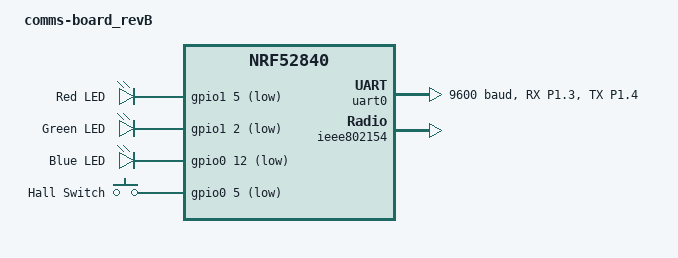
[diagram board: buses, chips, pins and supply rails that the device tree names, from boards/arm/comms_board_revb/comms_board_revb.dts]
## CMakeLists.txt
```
#
# Copyright (c) 2021 Nordic Semiconductor ASA
#
# SPDX-License-Identifier: LicenseRef-Nordic-5-Clause
#

cmake_minimum_required(VERSION 3.20.0)

find_package(Zephyr REQUIRED HINTS $ENV{ZEPHYR_BASE})

project("test")

# NORDIC SDK APP START
target_sources(app PRIVATE
  src/main.c
  src/gpio.c
  src/zb_zcl_modbus.c
)

target_include_directories(app PRIVATE include comms)
# NORDIC SDK APP END
```

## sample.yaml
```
sample:
  description: test
  name: test
tests:
  sample.zigbee.template:
    build_only: true
    integration_platforms:
      - nrf52840dk_nrf52840
      - nrf52833dk_nrf52833
      - nrf5340dk_nrf5340_cpuapp
      - nrf21540dk_nrf52840
    platform_allow:
      nrf52840dk_nrf52840 nrf52833dk_nrf52833 nrf5340dk_nrf5340_cpuapp
      nrf21540dk_nrf52840
    tags: ci_build smoke
```

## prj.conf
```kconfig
#
# Copyright (c) 2021 Nordic Semiconductor ASA
#
# SPDX-License-Identifier: LicenseRef-Nordic-5-Clause
#

CONFIG_NCS_SAMPLES_DEFAULTS=y

CONFIG_UART_INTERRUPT_DRIVEN=y
CONFIG_SERIAL=y
CONFIG_GPIO=y
CONFIG_PINCTRL=y


# Make sure printk is not printing to the UART console
CONFIG_CONSOLE=y
CONFIG_UART_CONSOLE=n
CONFIG_USE_SEGGER_RTT=y
CONFIG_RTT_CONSOLE=y

CONFIG_HEAP_MEM_POOL_SIZE=2048
CONFIG_MAIN_THREAD_PRIORITY=7

CONFIG_ZIGBEE=y
CONFIG_ZIGBEE_APP_UTILS=y
CONFIG_ZIGBEE_ROLE_ROUTER=y
CONFIG_ZIGBEE_USE_SOFTWARE_AES=y

# Enable DK LED and Buttons library
CONFIG_DK_LIBRARY=y

# This example requires more workqueue stack
CONFIG_SYSTEM_WORKQUEUE_STACK_SIZE=2048

# Enable nRF ECB driver
CONFIG_CRYPTO=y
CONFIG_CRYPTO_NRF_ECB=y
CONFIG_CRYPTO_INIT_PRIORITY=80

# Networking
CONFIG_NET_IPV6=n
CONFIG_NET_IP_ADDR_CHECK=n
#######################
# Zigbee FOTA overlay #
#######################

# Enable Zigbee FOTA library
CONFIG_ZIGBEE_FOTA=y
CONFIG_ZIGBEE_FOTA_HW_VERSION=1
CONFIG_ZIGBEE_FOTA_ENDPOINT=21
CONFIG_MCUBOOT_IMGTOOL_SIGN_VERSION="0.0.2"
CONFIG_ZIGBEE_FOTA_COMMENT="test"
CONFIG_ZIGBEE_FOTA_MANUFACTURER_ID=0xFFFE
CONFIG_ZIGBEE_FOTA_IMAGE_TYPE=0xFFFE

# Ensure an MCUboot-compatible binary is generated.
CONFIG_IMG_MANAGER=y
CONFIG_STREAM_FLASH=y
CONFIG_DFU_TARGET_MCUBOOT=y
CONFIG_IMG_ERASE_PROGRESSIVELY=y
CONFIG_ZIGBEE_FOTA_PROGRESS_EVT=y


CONFIG_SENSOR=y
CONFIG_NRF_CC3XX_PLATFORM=y
CONFIG_NRF_RTC_TIMER_USER_CHAN_COUNT=3
CONFIG_DYNAMIC_INTERRUPTS=y
CONFIG_ZIGBEE_APP_UTILS_LOG_LEVEL_DBG=y
CONFIG_MODBUS=y
CONFIG_MINIMAL_LIBC=y
CONFIG_COMMON_LIBC_MALLOC_ARENA_SIZE=2048

CONFIG_DEBUG_THREAD_INFO=y
CONFIG_DEBUG_OPTIMIZATIONS=y

# Increase the number of RX buffers
CONFIG_NRF_802154_RX_BUFFERS=32

CONFIG_ZIGBEE_CHANNEL_SELECTION_MODE_MULTI=y
CONFIG_ZIGBEE_FOTA_SERVER_DISOVERY_INTERVAL_HRS=1
CONFIG_ZIGBEE_FOTA_IMAGE_QUERY_INTERVAL_MIN=5
CONFIG_ZIGBEE_LOGGER_EP=y
CONFIG_ZBOSS_TRACE_LOG_LEVEL_DBG=y
CONFIG_ZBOSS_OSIF_LOG_LEVEL_DBG=y
CONFIG_ZIGBEE_LOGGER_EP_LOG_LEVEL_DBG=y
CONFIG_ZBOSS_TRACE_MASK=0x00000C48
CONFIG_THREAD_ANALYZER=y
CONFIG_THREAD_ANALYZER_AUTO=y
CONFIG_THREAD_ANALYZER_AUTO_INTERVAL=10
```

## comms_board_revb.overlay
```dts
// To get started, press Ctrl+Space to bring up the completion menu and view the available nodes.

// You can also use the buttons in the sidebar to perform actions on nodes.
// Actions currently available include:

// * Enabling / disabling the node
// * Adding the bus to a bus
// * Removing the node
// * Connecting ADC channels

// For more help, browse the DeviceTree documentation at https://docs.zephyrproject.org/latest/guides/dts/index.html
// You can also visit the nRF DeviceTree extension documentation at https://nrfconnect.github.io/vscode-nrf-connect/devicetree/nrfdevicetree.html

&uart0 {
	status = "okay";
    
    modbus0 {
        compatible = "zephyr,modbus-serial";
		status = "okay";
    };
};
```

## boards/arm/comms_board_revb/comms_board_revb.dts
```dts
// Copyright (c) 2023 Nordic Semiconductor ASA
// SPDX-License-Identifier: Apache-2.0

/dts-v1/;
#include <nordic/nrf52840_qiaa.dtsi>

/ {
	model = "comms-board_revB";
	compatible = "test,comms-board-revb";

	chosen {
		zephyr,ieee802154 = &ieee802154;
		zephyr,sram = &sram0;
		zephyr,flash = &flash0;
		zephyr,code-partition = &slot0_partition;
	};

	leds {
		compatible = "gpio-leds";
		led_red: led_red {
			gpios = <&gpio1 5 GPIO_ACTIVE_LOW>;
			label = "Red LED";
		};
		led_green: led_green {
			gpios = <&gpio1 2 GPIO_ACTIVE_LOW>;
			label = "Green LED";
		};
		led_blue: led_blue {
			gpios = <&gpio0 12 GPIO_ACTIVE_LOW>;
			label = "Blue LED";
		};
	};

	buttons {
		compatible = "gpio-keys";
		hall_sw: hall_sw {
			gpios = <&gpio0 5 (GPIO_ACTIVE_LOW)>;
			label = "Hall Switch";
		};
	};

	aliases {
		led-red = &led_red;
		led-green = &led_green;
		led-blue = &led_blue;
		hall-sw = &hall_sw;
	};
};

&flash0 {
	partitions {
		compatible = "fixed-partitions";
		#address-cells = <1>;
		#size-cells = <1>;

		boot_partition: partition@0 {
			label = "mcuboot";
			reg = <0x0 0xc000>;
		};
		slot0_partition: partition@c000 {
			label = "image-0";
			reg = <0xc000 0x72000>;
		};
		slot1_partition: partition@7e000 {
			label = "image-1";
			reg = <0x7e000 0x72000>;
		};
		scratch_partition: partition@f0000 {
			label = "image-scratch";
			reg = <0xf0000 0xa000>;
		};
		storage_partition: partition@fa000 {
			label = "storage";
			reg = <0xfa000 0x6000>;
		};
	};
};

&gpio0 {
	status = "okay";
};

&gpio1 {
	status = "okay";
};

&pinctrl {
	status = "okay";

	uart0_default: uart0_default {
		group1 {
			psels = <NRF_PSEL(UART_RX, 1, 3)>;
			bias-pull-up;
		};

		group2 {
			psels = <NRF_PSEL(UART_TX, 1, 4)>;
		};
	};

	uart0_sleep: uart0_sleep {
		group1 {
			psels = <NRF_PSEL(UART_TX, 1, 4)>,
				<NRF_PSEL(UART_RX,  1, 3)>;
			low-power-enable;
		};
	};
};

&uart0 {
	compatible = "nordic,nrf-uarte";
	status = "okay";
	current-speed = <9600>;
	pinctrl-0 = <&uart0_default>;
	pinctrl-1 = <&uart0_sleep>;
	pinctrl-names = "default", "sleep";
};

&ieee802154 {
	status = "okay";
};
```

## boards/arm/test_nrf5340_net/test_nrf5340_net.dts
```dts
// Copyright (c) 2023 Nordic Semiconductor ASA
// SPDX-License-Identifier: Apache-2.0

/dts-v1/;
#include <nordic/nrf5340_cpunet_qkaa.dtsi>

/ {
	model = "test_NRF5340_net";
	compatible = "elecgator-bv,test-nrf5340-net";

	chosen {
		zephyr,sram = &sram0;
		zephyr,flash = &flash0;
		zephyr,code-partition = &slot0_partition;
	};
};

&flash0 {
	partitions {
		compatible = "fixed-partitions";
		#address-cells = <1>;
		#size-cells = <1>;

		boot_partition: partition@0 {
			label = "mcuboot";
			reg = <0x0 0x10000>;
		};
		slot0_partition: partition@10000 {
			label = "image-0";
			reg = <0x10000 0x40000>;
		};
		slot0_ns_partition: partition@50000 {
			label = "image-0-nonsecure";
			reg = <0x50000 0x-30000>;
		};
		slot1_partition: partition@20000 {
			label = "image-1";
			reg = <0x20000 0x40000>;
		};
		slot1_ns_partition: partition@60000 {
			label = "image-1-nonsecure";
			reg = <0x60000 0x-30000>;
		};
		scratch_partition: partition@30000 {
			label = "image-scratch";
			reg = <0x30000 0xa000>;
		};
		storage_partition: partition@3a000 {
			label = "storage";
			reg = <0x3a000 0x6000>;
		};
	};
};
```

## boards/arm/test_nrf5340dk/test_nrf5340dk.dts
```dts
// Copyright (c) 2023 Nordic Semiconductor ASA
// SPDX-License-Identifier: Apache-2.0

/dts-v1/;
#include <nordic/nrf5340_cpuapp_qkaa.dtsi>

/ {
	model = "test-NRF5340DK";
	compatible = "elecgator-bv,test-nrf5340dk";

	chosen {
		zephyr,ieee802154 = &ieee802154;
		zephyr,sram = &sram0;
		zephyr,flash = &flash0;
		zephyr,code-partition = &slot0_partition;
	};

	leds {
		compatible = "gpio-leds";
		led_red: led_red {
			gpios = <&gpio1 5 GPIO_ACTIVE_LOW>;
			label = "Red LED";
		};
		led_green: led_green {
			gpios = <&gpio1 2 GPIO_ACTIVE_LOW>;
			label = "Green LED";
		};
		led_blue: led_blue {
			gpios = <&gpio0 12 GPIO_ACTIVE_LOW>;
			label = "Blue LED";
		};
	};

	buttons {
		compatible = "gpio-keys";
		hall_sw: hall_sw {
			gpios = <&gpio0 5 (GPIO_ACTIVE_LOW)>;
			label = "Hall Switch";
		};
	};

	aliases {
		led-red = &led_red;
		led-green = &led_green;
		led-blue = &led_blue;
		hall-sw = &hall_sw;
	};

	reserved-memory {
        #address-cells = <1>;
        #size-cells = <1>;
        ranges;


        //sram0_ns: image_ns@20000000 {
            /* Non-Secure image memory */
        //};
        sram0_shared: memory@20070000 {
            /* SRAM allocated to shared memory */
            reg = <0x20070000 0x10000>;
        };
    };
};



&flash0 {
	partitions {
		compatible = "fixed-partitions";
		#address-cells = <1>;
		#size-cells = <1>;

		boot_partition: partition@0 {
			label = "mcuboot";
			reg = <0x0 0x10000>;
		};
		slot0_partition: partition@10000 {
			label = "image-0";
			reg = <0x10000 0x40000>;
		};
		slot0_ns_partition: partition@50000 {
			label = "image-0-nonsecure";
			reg = <0x50000 0x30000>;
		};
		slot1_partition: partition@80000 {
			label = "image-1";
			reg = <0x80000 0x40000>;
		};
		slot1_ns_partition: partition@c0000 {
			label = "image-1-nonsecure";
			reg = <0xc0000 0x30000>;
		};
		scratch_partition: partition@f0000 {
			label = "image-scratch";
			reg = <0xf0000 0xa000>;
		};
		storage_partition: partition@fa000 {
			label = "storage";
			reg = <0xfa000 0x6000>;
		};
	};
};

&gpio0 {
	status = "okay";
};

&gpio1 {
	status = "okay";
};

&pinctrl {
	status = "okay";

	uart0_default: uart0_default {
		group1 {
			psels = <NRF_PSEL(UART_RX, 1, 3)>;
		};

		group2 {
			psels = <NRF_PSEL(UART_TX, 1, 4)>;
			bias-pull-up;
		};
	};

	uart0_sleep: uart0_sleep {
		group1 {
			psels = <NRF_PSEL(UART_TX, 1, 4)>,
				<NRF_PSEL(UART_RX,  1, 3)>;
			low-power-enable;
		};
	};
};

&uart0 {
	compatible = "nordic,nrf-uarte";
	status = "okay";
	current-speed = <115200>;
	pinctrl-0 = <&uart0_default>;
	pinctrl-1 = <&uart0_sleep>;
	pinctrl-names = "default", "sleep";
};

&ieee802154 {
	status = "okay";
};
```

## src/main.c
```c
/*
 * Copyright (c) 2021 Nordic Semiconductor ASA
 *
 * SPDX-License-Identifier: LicenseRef-Nordic-5-Clause
 */

/** @file
 *
 * @brief Zigbee application template.
 */

#include <zephyr/kernel.h>
#include <zephyr/logging/log.h>

#include "zb_range_extender.h"
#include <ram_pwrdn.h>
#include <zb_nrf_platform.h>
#include <zboss_api.h>
#include <zboss_api_addons.h>
#include <zigbee/zigbee_error_handler.h>

#include <zigbee/zigbee_app_utils.h>

#include "zb_zcl_modbus.h"

#include <stdio.h>
#include <stdlib.h>

#include "gpio.h"

#define ZIGBEE_MANUFACTURER_CODE ZB_ZCL_MANUF_CODE_INVALID

#if CONFIG_ZIGBEE_FOTA
#include <zephyr/dfu/mcuboot.h>
#include <zephyr/sys/reboot.h>
#include <zigbee/zigbee_fota.h>

/* LED indicating OTA Client Activity. */
#define OTA_ACTIVITY_LED LED_RED
#endif /* CONFIG_ZIGBEE_FOTA */

/* Device endpoint, used to receive ZCL commands. */
#define TEST_EP_ENDPOINT 0x01

/* LED indicating that device successfully joined Zigbee network. */
#define ZIGBEE_NETWORK_STATE_LED LED_BLUE

/* LED used for device identification. */
#define IDENTIFY_LED LED_GREEN

/* Button used to enter the Identify mode. */
#define IDENTIFY_MODE_BUTTON HALL_IN_MSK

/* Button to start Factory Reset */
#define FACTORY_RESET_BUTTON IDENTIFY_MODE_BUTTON

LOG_MODULE_REGISTER(app, LOG_LEVEL_INF);

static bool network_led_state = false;

/* Main application customizable context.
 * Stores all settings and static values.
 */
typedef struct {
    zb_zcl_basic_attrs_ext_t basic_attr;
    zb_zcl_identify_attrs_t  identify_attr;
    zb_zcl_modbus_attrs_t    modbus_attr;
} zb_device_ctx_t;

/* Zigbee device application context storage. */
static zb_device_ctx_t dev_ctx;

ZB_ZCL_DECLARE_IDENTIFY_ATTRIB_LIST(identify_attr_list, &dev_ctx.identify_attr.identify_time);

ZB_ZCL_DECLARE_BASIC_ATTRIB_LIST_EXT(basic_attr_list, &dev_ctx.basic_attr.zcl_version, &dev_ctx.basic_attr.app_version, &dev_ctx.basic_attr.stack_version, &dev_ctx.basic_attr.hw_version, &dev_ctx.basic_attr.mf_name, &dev_ctx.basic_attr.model_id,
                                     &dev_ctx.basic_attr.date_code, &dev_ctx.basic_attr.power_source, &dev_ctx.basic_attr.location_id, &dev_ctx.basic_attr.ph_env, &dev_ctx.basic_attr.sw_ver);

ZB_DECLARE_RANGE_EXTENDER_CLUSTER_LIST(range_extender_clusters, basic_attr_list, identify_attr_list);

ZB_DECLARE_RANGE_EXTENDER_EP(test_ep, TEST_EP_ENDPOINT, range_extender_clusters);

#define MODBUS_CLUSTER_ENDPOINT 0x02

// add Modbus cluster
ZB_ZCL_DECLARE_MODBUS_ATTRIB_LIST(modbus_attr_list, &dev_ctx.modbus_attr.baudrate);
zb_zcl_cluster_desc_t clusters_test[] = {
    ZB_ZCL_CLUSTER_DESC(ZB_ZCL_CLUSTER_ID_MODBUS, ZB_ZCL_ARRAY_SIZE(modbus_attr_list, zb_zcl_attr_t), (modbus_attr_list), ZB_ZCL_CLUSTER_SERVER_ROLE, ZB_ZCL_MANUF_CODE_INVALID),
};

ZB_AF_SIMPLE_DESC_TYPE(1, 1)
simple_desc_test = {MODBUS_CLUSTER_ENDPOINT,
                    ZB_AF_HA_PROFILE_ID,
                    0xF003, // TODO change
                    1,      // TODO change
                    0,
                    0,
                    1,
                    {
                        ZB_ZCL_CLUSTER_ID_MODBUS,
                    }};
ZBOSS_DEVICE_DECLARE_REPORTING_CTX(reporting_info_test, 0);
ZB_AF_DECLARE_ENDPOINT_DESC(device_ep, MODBUS_CLUSTER_ENDPOINT, ZB_AF_HA_PROFILE_ID, 0, NULL, ZB_ZCL_ARRAY_SIZE(clusters_test, zb_zcl_cluster_desc_t), clusters_test, (zb_af_simple_desc_1_1_t*)&simple_desc_test, 0, NULL, 0, NULL);

#ifndef CONFIG_ZIGBEE_FOTA
ZB_AF_START_DECLARE_ENDPOINT_LIST(ep_list_test_ep_ctx)
&test_ep, &device_ep, ZB_AF_FINISH_DECLARE_ENDPOINT_LIST;
ZBOSS_DECLARE_DEVICE_CTX(test_ep_ctx, ep_list_test_ep_ctx, (ZB_ZCL_ARRAY_SIZE(ep_list_test_ep_ctx, zb_af_endpoint_desc_t*)));
#else

#if TEST_EP_ENDPOINT == CONFIG_ZIGBEE_FOTA_ENDPOINT
#error "Device and Zigbee OTA endpoints should be different."
#endif

extern zb_af_endpoint_desc_t zigbee_fota_client_ep;

ZB_AF_START_DECLARE_ENDPOINT_LIST(ep_list_test_ep_ctx)
&test_ep, &device_ep, &zigbee_fota_client_ep, ZB_AF_FINISH_DECLARE_ENDPOINT_LIST;
ZBOSS_DECLARE_DEVICE_CTX(test_ep_ctx, ep_list_test_ep_ctx, (ZB_ZCL_ARRAY_SIZE(ep_list_test_ep_ctx, zb_af_endpoint_desc_t*)));
#endif /* CONFIG_ZIGBEE_FOTA */

int set_pascal_string(char* str, char* dest, size_t max_length) {
    size_t str_length = strlen(str);

    if (str_length > max_length) {
        return 1;
    }
    dest[0] = (char)str_length;
    memcpy(&dest[1], str, str_length);
    return 0;
}

/**@brief Function for initializing all clusters attributes. */
static void app_clusters_attr_init(void) {
    /* Basic cluster attributes data */
    dev_ctx.basic_attr.zcl_version   = ZB_ZCL_VERSION;
    dev_ctx.basic_attr.app_version   = ZB_ZCL_BASIC_APPLICATION_VERSION_DEFAULT_VALUE; // TODO set in production
    dev_ctx.basic_attr.stack_version = ZB_ZCL_BASIC_STACK_VERSION_DEFAULT_VALUE;       // TODO set in production
    dev_ctx.basic_attr.hw_version    = ZB_ZCL_BASIC_HW_VERSION_DEFAULT_VALUE;          // TODO set in production
    dev_ctx.modbus_attr.baudrate     = ZB_ZCL_MODBUS_BAUDRATE_19200;

    set_pascal_string("TEST NV", dev_ctx.basic_attr.mf_name, sizeof(dev_ctx.basic_attr.mf_name));
    set_pascal_string("test", dev_ctx.basic_attr.model_id, sizeof(dev_ctx.basic_attr.model_id));
    set_pascal_string("17022023", dev_ctx.basic_attr.date_code,
                      sizeof(dev_ctx.basic_attr.date_code)); // TODO set in production
    dev_ctx.basic_attr.power_source = ZB_ZCL_BASIC_POWER_SOURCE_DC_SOURCE;
    set_pascal_string("test123", dev_ctx.basic_attr.sw_ver,
                      sizeof(dev_ctx.basic_attr.sw_ver)); // TODO set in production
    set_pascal_string("Not set", dev_ctx.basic_attr.location_id, sizeof(dev_ctx.basic_attr.location_id));
    dev_ctx.basic_attr.ph_env = ZB_ZCL_BASIC_ENV_UNSPECIFIED;

    /* Identify cluster attributes data. */
    dev_ctx.identify_attr.identify_time = ZB_ZCL_IDENTIFY_IDENTIFY_TIME_DEFAULT_VALUE;
}

/**@brief Function to toggle the identify LED
 *
 * @param  bufid  Unused parameter, required by ZBOSS scheduler API.
 */
static void toggle_identify_led(zb_bufid_t bufid) {
    static int blink_status;

    if ((++blink_status) % 2) {
        gpio_set_led_off(ZIGBEE_NETWORK_STATE_LED);
        gpio_set_led_on(IDENTIFY_LED);
    } else {
        gpio_set_led_off(IDENTIFY_LED);
        gpio_set_led(ZIGBEE_NETWORK_STATE_LED, network_led_state ? 1 : 0);
    }

    ZB_SCHEDULE_APP_ALARM(toggle_identify_led, bufid, ZB_MILLISECONDS_TO_BEACON_INTERVAL(100));
}

/**@brief Function to handle identify notification events on the first endpoint.
 *
 * @param  bufid  Unused parameter, required by ZBOSS scheduler API.
 */
static void identify_cb(zb_bufid_t bufid) {
    zb_ret_t zb_err_code;

    if (bufid) {
        /* Schedule a self-scheduling function that will toggle the LED */
        LOG_INF("Enter identify mode");
        ZB_SCHEDULE_APP_ALARM_CANCEL(toggle_identify_led, ZB_ALARM_ANY_PARAM);
        ZB_SCHEDULE_APP_CALLBACK(toggle_identify_led, bufid);
    } else {
        /* Cancel the toggling function alarm and turn off LED */
        LOG_INF("Cancel identify mode");
        zb_err_code = ZB_SCHEDULE_APP_ALARM_CANCEL(toggle_identify_led, ZB_ALARM_ANY_PARAM);
        ZVUNUSED(zb_err_code);

        gpio_set_led(IDENTIFY_LED, 0);
        LOG_INF("cancel identify led state: %i\n", network_led_state);
        gpio_set_led(ZIGBEE_NETWORK_STATE_LED, network_led_state ? 1 : 0);
    }
}

/**@brief Starts identifying the device.
 *
 * @param  bufid  Unused parameter, required by ZBOSS scheduler API.
 */
static void start_identifying(zb_bufid_t bufid) {
    ZVUNUSED(bufid);

    if (ZB_JOINED()) {
        /* Check if endpoint is in identifying mode,
         * if not put desired endpoint in identifying mode.
         */
        if (dev_ctx.identify_attr.identify_time == ZB_ZCL_IDENTIFY_IDENTIFY_TIME_DEFAULT_VALUE) {

            zb_ret_t zb_err_code = zb_bdb_finding_binding_target(TEST_EP_ENDPOINT);

            if (zb_err_code == RET_OK) {
                LOG_INF("Enter identify mode");
            } else if (zb_err_code == RET_INVALID_STATE) {
                LOG_WRN("RET_INVALID_STATE - Cannot enter identify mode");
            } else {
                ZB_ERROR_CHECK(zb_err_code);
            }
        } else {
            LOG_INF("Cancel identify mode");
            zb_bdb_finding_binding_target_cancel();
        }
    } else {
        LOG_WRN("Device not in a network - cannot enter identify mode");
    }
}

/**@brief Callback for button events.
 *
 * @param[in]   button_state  Bitmask containing buttons state.
 * @param[in]   has_changed   Bitmask containing buttons
 *                            that have changed their state.
 */
static void button_changed(uint32_t button_state, uint32_t has_changed) {
    if (button_state) {
        gpio_set_led_off(ZIGBEE_NETWORK_STATE_LED);
        gpio_set_led_on(LED_RED);
        LOG_INF("Hall sensor activated!");
    } else {
        gpio_set_led_off(LED_RED);
        gpio_set_led(ZIGBEE_NETWORK_STATE_LED, network_led_state ? 1 : 0);
        LOG_INF("Hall sensor deactivated!");
    }

    if (IDENTIFY_MODE_BUTTON & has_changed) {
        if (IDENTIFY_MODE_BUTTON & button_state) {
            /* Button changed its state to pressed */
        } else {
            /* Button changed its state to released */
            if (was_factory_reset_done()) {
                /* The long press was for Factory Reset */
                LOG_DBG("After Factory Reset - ignore button release");
            } else {
                /* Button released before Factory Reset */

                // /* Start identification mode */
                ZB_SCHEDULE_APP_CALLBACK(start_identifying, 0);
            }
        }
    }

    check_factory_reset_button(button_state, has_changed);
}

/**@brief Function for initializing LEDs and Buttons. */
static void configure_gpio(void) {
    int err;

    err = gpio_buttons_init(button_changed);
    if (err) {
        LOG_ERR("Cannot init buttons (err: %d)", err);
    }

    err = gpio_leds_init();
    if (err) {
        LOG_ERR("Cannot init LEDs (err: %d)", err);
    }
}

/**@brief Zigbee stack event handler.
 *
 * @param[in]   bufid   Reference to the Zigbee stack buffer
 *                      used to pass signal.
 */
void zboss_signal_handler(zb_bufid_t bufid) {

    /* Update network status LED. */
    zigbee_led_status_update(bufid, ZIGBEE_NETWORK_STATE_LED);

#ifdef CONFIG_ZIGBEE_FOTA
    /* Pass signal to the OTA client implementation. */
    zigbee_fota_signal_handler(bufid);
#endif /* CONFIG_ZIGBEE_FOTA */

    /* No application-specific behavior is required.
     * Call default signal handler.
     */
    ZB_ERROR_CHECK(zigbee_default_signal_handler(bufid));

    zb_zdo_app_signal_hdr_t* p_sg_p = NULL;
    zb_zdo_app_signal_type_t sig    = zb_get_app_signal(bufid, &p_sg_p);
    zb_ret_t                 status = ZB_GET_APP_SIGNAL_STATUS(bufid);

    static bool started = false;
    switch (sig) {
    case ZB_BDB_SIGNAL_DEVICE_REBOOT:
    /* fall-through */
    case ZB_BDB_SIGNAL_STEERING:
        if (status == RET_OK) {
            network_led_state = true;
        } else {
            network_led_state = false;
        }
        break;

    case ZB_ZDO_SIGNAL_LEAVE:
        network_led_state = false;
        break;

    default:
        break;
    }

    static bool prev = false;

    prev = network_led_state;

    /* All callbacks should either reuse or free passed buffers.
     * If bufid == 0, the buffer is invalid (not passed).
     */
    if (bufid) {
        zb_buf_free(bufid);
    }
}

#ifdef CONFIG_ZIGBEE_FOTA
static void confirm_image(void) {
    if (!boot_is_img_confirmed()) {
        int ret = boot_write_img_confirmed();

        if (ret) {
            LOG_ERR("Couldn't confirm image: %d", ret);
        } else {
            LOG_INF("Marked image as OK");
        }
    }
}

static void ota_evt_handler(const struct zigbee_fota_evt* evt) {
    switch (evt->id) {
    case ZIGBEE_FOTA_EVT_PROGRESS:
        gpio_set_led(OTA_ACTIVITY_LED, evt->dl.progress % 2);
        break;

    case ZIGBEE_FOTA_EVT_FINISHED:
        LOG_INF("Reboot application.");
        /* Power on unused sections of RAM to allow MCUboot to use it. */
        if (IS_ENABLED(CONFIG_RAM_POWER_DOWN_LIBRARY)) {
            power_up_unused_ram();
        }

        sys_reboot(SYS_REBOOT_COLD);
        break;

    case ZIGBEE_FOTA_EVT_ERROR:
        LOG_ERR("OTA image transfer failed.");
        break;

    default:
        break;
    }
}

/**@brief Callback function for handling ZCL commands.
 *
 * @param[in]   bufid   Reference to Zigbee stack buffer
 *                      used to pass received data.
 */
static void zcl_device_cb(zb_bufid_t bufid) {
    zb_zcl_device_callback_param_t* device_cb_param = ZB_BUF_GET_PARAM(bufid, zb_zcl_device_callback_param_t);

    if (device_cb_param->device_cb_id == ZB_ZCL_OTA_UPGRADE_VALUE_CB_ID) {
        zigbee_fota_zcl_cb(bufid);
    } else {
        device_cb_param->status = RET_NOT_IMPLEMENTED;
    }
}
#endif

void main(void) {
    LOG_INF("Starting ventilation unit...");

    /* Initialize */
    configure_gpio();
    register_factory_reset_button(FACTORY_RESET_BUTTON);

#ifdef CONFIG_ZIGBEE_FOTA
    /* Initialize Zigbee FOTA download service. */
    zigbee_fota_init(ota_evt_handler);

    /* Mark the current firmware as valid. */
    confirm_image();

    /* Register callback for handling ZCL commands. */
    ZB_ZCL_REGISTER_DEVICE_CB(zcl_device_cb);
#endif /* CONFIG_ZIGBEE_FOTA */

    /* Register device context (endpoints). */
    ZB_AF_REGISTER_DEVICE_CTX(&test_ep_ctx);

    app_clusters_attr_init();

    /* Register handlers to identify notifications */
    ZB_AF_SET_IDENTIFY_NOTIFICATION_HANDLER(TEST_EP_ENDPOINT, identify_cb);

#ifdef CONFIG_ZIGBEE_FOTA
    ZB_AF_SET_IDENTIFY_NOTIFICATION_HANDLER(CONFIG_ZIGBEE_FOTA_ENDPOINT, identify_cb);
#endif /* CONFIG_ZIGBEE_FOTA */

    // uint8_t install_code[18] = {0x00, 0x11, 0x22, 0x33, 0x44, 0x55, 0x66, 0x77,
    // 0x88, 0x99, 0xAA, 0xBB, 0xCC, 0xDD, 0xEE, 0xFF, 0x52, 0x8F};
    // LOG_INF("\n\n\nerr install_code: %i\n\n\n", zb_secur_ic_set(ZB_IC_TYPE_128,
    // install_code));

    // zb_set_installcode_policy(true);

    /* Start Zigbee default thread */
    zigbee_enable();

    LOG_INF("Zigbee application template started");

    zb_ieee_addr_t ieee_address;
    zb_get_long_address(ieee_address);
    LOG_INF("Current address: %02x%02x%02x%02x%02x%02x%02x%02x\n", ieee_address[7], ieee_address[6], ieee_address[5], ieee_address[4], ieee_address[3], ieee_address[2], ieee_address[1], ieee_address[0]);

    int count = 0;
    while (1) {
        printk("Print Main loop\n");
        k_msleep(1000);
    }
}
```

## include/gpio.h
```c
/*
 * Copyright (c) 2018 Nordic Semiconductor ASA
 *
 * SPDX-License-Identifier: LicenseRef-Nordic-5-Clause
 */

#ifndef __GPIO__
#define __GPIO__

/** @file gpio_buttons_and_leds.h
 * @brief Module for handling buttons and LEDs on Nordic DKs.
 * @defgroup gpio_buttons_and_leds DK buttons and LEDs
 * @{
 */

#include <zephyr/types.h>
#include <zephyr/sys/slist.h>

#ifdef __cplusplus
extern "C" {
#endif

#define _PINNUM(port, bit) ((port)*32 + (bit))

#define GPIO_HALL_IN   _PINNUM(0, 5)
#define GPIO_LED_RED   _PINNUM(1, 5)
#define GPIO_LED_GREEN _PINNUM(1, 2)
#define GPIO_LED_BLUE  _PINNUM(0, 12)

#define GPIO_CB_RXD _PINNUM(1, 3)
#define GPIO_CB_TXD _PINNUM(1, 4)
#define GPIO_BM_IRQ _PINNUM(1, 8)
#define GPIO_BM_PF  _PINNUM(1, 6)

#define NO_LEDS_MSK (0)
#define LED_RED     0
#define LED_GREEN   2
#define LED_BLUE    1

#define LED_RED_MSK   BIT(LED_RED)
#define LED_GREEN_MSK BIT(LED_GREEN)
#define LED_BLUE_MSK  BIT(LED_BLUE)
#define ALL_LEDS_MSK  (LED_RED_MSK | LED_GREEN_MSK | LED_BLUE_MSK)

#define NO_BTNS_MSK  (0)
#define HALL_IN      0
#define HALL_IN_MSK  BIT(HALL_IN)
#define ALL_BTNS_MSK (HALL_IN_MSK)

#define ENABLE_DYNAMIC_BUTTON_HANDLERS 0
#define GPIO_BUTTON_SCAN_INTERVAL_MS   10

/**
 * @typedef button_handler_t
 * @brief Callback that is executed when a button state change is detected.
 *
 * @param button_state Bitmask of button states.
 * @param has_changed Bitmask that shows which buttons have changed.
 */
typedef void (*button_handler_t)(uint32_t button_state, uint32_t has_changed);

/** Button handler list entry. */
struct button_handler {
    button_handler_t cb;   /**< Callback function. */
    sys_snode_t      node; /**< Linked list node, for internal use. */
};

/** @brief Initialize the library to control the LEDs.
 *
 *  @retval 0           If the operation was successful.
 *                      Otherwise, a (negative) error code is returned.
 */
int gpio_leds_init(void);

/** @brief Initialize the library to read the button state.
 *
 *  @param  button_handler Callback handler for button state changes.
 *
 *  @retval 0           If the operation was successful.
 *                      Otherwise, a (negative) error code is returned.
 */
int gpio_buttons_init(button_handler_t button_handler);

/** @brief Add a dynamic button handler callback.
 *
 * In addition to the button handler function passed to
 * @ref gpio_buttons_init, any number of button handlers can be added and removed
 * at runtime.
 *
 * @param[in] handler Handler structure. Must point to statically allocated
 * memory.
 */
void gpio_button_handler_add(struct button_handler* handler);

/** @brief Remove a dynamic button handler callback.
 *
 * @param[in] handler Handler to remove.
 *
 * @retval 0 Successfully removed the handler.
 * @retval -ENOENT This button handler was not present.
 */
int gpio_button_handler_remove(struct button_handler* handler);

/** @brief Read current button states.
 *
 *  @param button_state Bitmask of button states.
 *  @param has_changed Bitmask that shows which buttons have changed.
 */
void gpio_read_buttons(uint32_t* button_state, uint32_t* has_changed);

/** @brief Get current button state from internal variable.
 *
 *  @return Bitmask of button states.
 */
uint32_t gpio_get_buttons(void);

/** @brief Set value of LED pins as specified in one bitmask.
 *
 *  @param  leds Bitmask that defines which LEDs to turn on and off.
 *
 *  @retval 0           If the operation was successful.
 *                      Otherwise, a (negative) error code is returned.
 */
int gpio_set_leds(uint32_t leds);

/** @brief Set value of LED pins as specified in two bitmasks.
 *
 *  @param  leds_on_mask  Bitmask that defines which LEDs to turn on.
 *                        If this bitmask overlaps with @p leds_off_mask,
 *                        @p leds_on_mask has priority.
 *
 *  @param  leds_off_mask Bitmask that defines which LEDs to turn off.
 *                        If this bitmask overlaps with @p leds_on_mask,
 *                        @p leds_on_mask has priority.
 *
 *  @retval 0           If the operation was successful.
 *                      Otherwise, a (negative) error code is returned.
 */
int gpio_set_leds_state(uint32_t leds_on_mask, uint32_t leds_off_mask);

/** @brief Set a single LED value.
 *
 *  This function turns a single LED on or off.
 *
 *  @param led_idx Index of the LED.
 *  @param val     Value for the LED: 1 - turn on, 0 - turn off
 *
 *  @retval 0           If the operation was successful.
 *                      Otherwise, a (negative) error code is returned.
 *
 *  @sa gpio_set_led_on, gpio_set_led_off
 */
int gpio_set_led(uint8_t led_idx, uint32_t val);

/** @brief Turn a single LED on.
 *
 *  @param led_idx Index of the LED.
 *
 *  @retval 0           If the operation was successful.
 *                      Otherwise, a (negative) error code is returned.
 */
int gpio_set_led_on(uint8_t led_idx);

/** @brief Turn a single LED off.
 *
 *  @param led_idx Index of the LED.
 *
 *  @retval 0           If the operation was successful.
 *                      Otherwise, a (negative) error code is returned.
 */
int gpio_set_led_off(uint8_t led_idx);

#ifdef __cplusplus
}
#endif

/** @} */

#endif /* __GPIO__ */
```

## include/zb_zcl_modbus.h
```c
#ifndef ZB_ZCL_MODBUS_H
#define ZB_ZCL_MODBUS_H 1

#include <zboss_api.h>
#include <zboss_api_addons.h>
#include "zcl/zb_zcl_common.h"
#include "zcl/zb_zcl_commands.h"

/** @cond DOXYGEN_ZCL_SECTION */

/** @addtogroup ZB_ZCL_MODBUS
 *  @{
 *    @details
 *    All commands in the cluster have only request form, and carry no payload.
 */

/* Cluster ZB_ZCL_CLUSTER_ID_MODBUS */

#define ZB_ZCL_CLUSTER_ID_MODBUS 0xFC00

/*! @name Modbus cluster attributes
    @{
*/

/*! @brief Modbus cluster attribute identifiers
 */
enum zb_zcl_modbus_attr_e
{
    /*! @brief internal baudrate */
    ZB_ZCL_ATTR_MODBUS_BAUDRATE_ID = 0x0000,
};

/**
 * @brief Modbus baudrate attribute
 */
typedef enum
{
    ZB_ZCL_MODBUS_BAUDRATE_9600   = 0,
    ZB_ZCL_MODBUS_BAUDRATE_19200  = 1,
    ZB_ZCL_MODBUS_BAUDRATE_115200 = 2,
} zb_zcl_modbus_baudrate_t;

/** @brief Default value for Modbus cluster revision global attribute */
#define ZB_ZCL_MODBUS_CLUSTER_REVISION_DEFAULT ((zb_uint16_t)0x0001u)

/** @brief Maximal value for implemented modbus cluster revision global attribute */
#define ZB_ZCL_MODBUS_CLUSTER_REVISION_MAX ZB_ZCL_MODBUS_CLUSTER_REVISION_DEFAULT

/** @brief Baudrate attribute minimum value */
#define ZB_ZCL_MODBUS_BAUDRATE_MIN_VALUE ((zb_uint8_t)ZB_ZCL_MODBUS_BAUDRATE_9600)

/** @brief Baudrate attribute maximum value */
#define ZB_ZCL_MODBUS_BAUDRATE_MAX_VALUE ((zb_uint8_t)ZB_ZCL_MODBUS_BAUDRATE_115200)

/** @brief Baudrate attribute default value */
#define ZB_ZCL_MODBUS_BAUDRATE_DEFAULT_VALUE ((zb_uint8_t)ZB_ZCL_MODBUS_BAUDRATE_19200)

/*!
  @brief Declare attribute list for Modbus cluster
  @param attr_list - attribute list name
  @param baudrate - pointer to variable to store baudrate attribute value
*/
#define ZB_ZCL_DECLARE_MODBUS_ATTRIB_LIST(attr_list, baudrate)                                                                                                                                                                                           \
    ZB_ZCL_START_DECLARE_ATTRIB_LIST_CLUSTER_REVISION(attr_list, ZB_ZCL_MODBUS)                                                                                                                                                                          \
    ZB_ZCL_SET_ATTR_DESC(ZB_ZCL_ATTR_MODBUS_BAUDRATE_ID, (baudrate))                                                                                                                                                                                     \
    ZB_ZCL_FINISH_DECLARE_ATTRIB_LIST

/*! @} */ /* Modbus cluster attributes */

/** @cond internals_doc */
/*! @name Modbus cluster internals
    Internal structures for Modbus cluster
    @internal
    @{
*/

#define ZB_SET_ATTR_DESCR_WITH_ZB_ZCL_ATTR_MODBUS_BAUDRATE_ID(data_ptr)                                                                                                                                                                                  \
    { ZB_ZCL_ATTR_MODBUS_BAUDRATE_ID, ZB_ZCL_ATTR_TYPE_8BIT_ENUM, ZB_ZCL_ATTR_ACCESS_READ_WRITE | ZB_ZCL_ATTR_MANUF_SPEC, (void*)data_ptr }

/** @internal Structure of addr variables for register commands
 */
typedef struct zb_zcl_modbus_addr_s {
    zb_uint16_t src_addr;
    zb_uint8_t  src_endpoint;
    zb_uint8_t  dst_endpoint;
    zb_uint8_t  cmd_id;
    zb_uint8_t  seq_number;
    zb_bool_t   disable_default_response;
    zb_uint16_t profile_id;
} zb_zcl_modbus_addr_t;

/** @see Modbus Exception responses */
typedef enum
{
    ZB_ZCL_MODBUS_EXCP_ILLEGAL_FUNC,
    ZB_ZCL_MODBUS_EXCP_ILLEGAL_DATA_ADDR,
    ZB_ZCL_MODBUS_EXCP_ILLEGAL_DATA_VALUE,
    ZB_ZCL_MODBUS_EXCP_SERVER_DEV_FAIL,
    ZB_ZCL_MODBUS_EXCP_ACK,
    ZB_ZCL_MODBUS_EXCP_SERVER_DEV_BUSY,
    ZB_ZCL_MODBUS_EXCP_NACK,
    ZB_ZCL_MODBUS_EXCP_MEM_PAIR_ERR,
    ZB_ZCL_MODBUS_EXCP_GATE_PATH_UNAVAILABLE,
    ZB_ZCL_MODBUS_EXCP_GATE_TARGET_FAILED_TO_RESPOND,
} zb_zcl_modbus_exception_t;

typedef enum
{
    ZB_ZCL_MODBUS_RESP_STATUS_OK,
    ZB_ZCL_MODBUS_RESP_STATUS_MODBUS_ERROR,
    ZB_ZCL_MODBUS_RESP_STATUS_UNKNOWN_ERROR,
} zb_zcl_modbus_resp_status_t;

/*! Number of attributes mandatory for reporting in Modbus cluster */
#define ZB_ZCL_MODBUS_REPORT_ATTR_COUNT 0

/*! @} */ /* Modbus cluster internals */
/*! @}
 *  @endcond */ /* internals_doc */

/*! @name Modbus cluster commands
    @{
*/

/*! @brief Modbus cluster command identifiers
 */
enum zb_zcl_modbus_cmd_req_e
{
    ZB_ZCL_CMD_MODBUS_JSON_COMMAND_REQ_ID = 0xF1,
};

enum zb_zcl_modbus_cmd_resp_e
{
    ZB_ZCL_CMD_MODBUS_JSON_COMMAND_RESP_ID = 0xF2,
};

/** @cond internals_doc */
/* Modbus cluster commands list : only for information - do not modify */
#define ZB_ZCL_CLUSTER_ID_MODBUS_SERVER_ROLE_GENERATED_CMD_LIST

#define ZB_ZCL_CLUSTER_ID_MODBUS_CLIENT_ROLE_RECEIVED_CMD_LIST ZB_ZCL_CLUSTER_ID_MODBUS_SERVER_ROLE_GENERATED_CMD_LIST

#define ZB_ZCL_CLUSTER_ID_MODBUS_CLIENT_ROLE_GENERATED_CMD_LIST ZB_ZCL_CMD_MODBUS_JSON_COMMAND_REQ_ID

#define ZB_ZCL_CLUSTER_ID_MODBUS_SERVER_ROLE_RECEIVED_CMD_LIST ZB_ZCL_CLUSTER_ID_MODBUS_CLIENT_ROLE_GENERATED_CMD_LIST

#define ZB_ZCL_MB_CMD_MAX_STRING_LENGTH 82

/*! @}
 *  @endcond */ /* internals_doc */

/************************** Modbus cluster command definitions ****************************/

/******** Command json command ********/

/*! @brief Structured representation of json command command payload */
typedef ZB_PACKED_PRE struct zb_zcl_modbus_json_command_req_s {
    zb_uint8_t len;
    zb_char_t  data[ZB_ZCL_MB_CMD_MAX_STRING_LENGTH + 1]; // 1 extra for delimiter
} ZB_PACKED_STRUCT zb_zcl_modbus_json_command_req_t;

/** @brief Json command payload length macro */
#define ZB_ZCL_MODBUS_JSON_COMMAND_REQ_MAX_PAYLOAD_LEN sizeof(zb_zcl_modbus_json_command_req_t)

/*! @brief Send json command
    @param buffer - to put packet to
    @param dst_addr - address to send packet to
    @param dst_addr_mode - addressing mode
    @param dst_ep - destination endpoint
    @param ep - sending endpoint
    @param prof_id - profile identifier
    @param def_resp - enable/disable default response
    @param cb - callback for getting command send status
    @param address - address value
    @param data_length - Data length value
    @param slave_id - Slave_id value
    @param cmd_id - command id
*/
void zb_zcl_modbus_send_json_command_cmd(zb_bufid_t buffer, const zb_addr_u* dst_addr, zb_uint8_t dst_addr_mode, zb_uint8_t dst_ep, zb_uint8_t ep, zb_uint16_t prof_id, zb_uint8_t def_resp, zb_callback_t cb, zb_uint16_t address,
                                         zb_uint8_t data_length, zb_uint8_t slave_id, zb_uint8_t cmd_id);

/** @internal Macro for json command */
#define ZB_ZCL_MODBUS_SEND_JSON_COMMAND_CMD(buffer, addr, dst_addr_mode, dst_ep, ep, prfl_id, def_resp, cb, address, data_length, slave_id, cmd_id)                                                                                                      \
    { zb_zcl_modbus_send_json_command_cmd(buffer, ZB_ADDR_U_CAST(addr), dst_addr_mode, dst_ep, ep, prfl_id, def_resp, cb, address, data_length, slave_id, cmd_id); }

/** @internal Macro for getting json command */
#define ZB_ZCL_MODBUS_GET_JSON_COMMAND_CMD(buf, req, status)                                                                                                                                                                                             \
    {                                                                                                                                                                                                                                                    \
        zb_zcl_modbus_json_command_req_t* modbus_cmd_ptr = (zb_zcl_modbus_json_command_req_t*)zb_buf_begin(buf);                                                                                                                                         \
        status                                           = ZB_ZCL_PARSE_STATUS_FAILURE;                                                                                                                                                                  \
        if (zb_buf_len(buf) >= (zb_uint_t)(modbus_cmd_ptr->len)) {                                                                                                                                                                                       \
            req.len = modbus_cmd_ptr->len;                                                                                                                                                                                                               \
            ZB_MEMSET(req.data, 0, sizeof(req.data));                                                                                                                                                                                                    \
            ZB_MEMCPY(req.data, ((zb_uint8_t*)modbus_cmd_ptr->data), modbus_cmd_ptr->len);                                                                                                                                                               \
            status = ZB_ZCL_PARSE_STATUS_SUCCESS;                                                                                                                                                                                                        \
        }                                                                                                                                                                                                                                                \
    }

/*! @brief Send json command
    @param buffer - to put packet to
    @param addr - address to send packet to
    @param dst_addr_mode - addressing mode
    @param dst_ep - destination endpoint
    @param ep - sending endpoint
    @param prfl_id - profile identifier
    @param def_resp - enable/disable default response
    @param cb - callback for getting command send status
    @param address - address value
    @param data_length - data length value
    @param slave_id - slave_id value
*/

#define ZB_ZCL_MODBUS_SEND_JSON_COMMAND_REQ(buffer, addr, dst_addr_mode, dst_ep, ep, prfl_id, def_resp, cb, address, data_length, slave_id)                                                                                                              \
    { ZB_ZCL_MODBUS_SEND_JSON_COMMAND_CMD(buffer, addr, dst_addr_mode, dst_ep, ep, prfl_id, def_resp, cb, address, data_length, slave_id, ZB_ZCL_CMD_MODBUS_JSON_COMMAND_REQ_ID) }

/*!
  @brief Parses Get json command and fills data request structure.
  @param data_buf - pointer to zb_buf_t buffer containing command request data
  @param req - variable to save command request
  @param status - success or not read parameters - ZB_TRUE or ZB_FALSE
  @note data_buf buffer should contain command request payload without ZCL header.
*/

#define ZB_ZCL_MODBUS_GET_JSON_COMMAND_REQ(data_buf, req, status)                                                                                                                                                                                        \
    { ZB_ZCL_MODBUS_GET_JSON_COMMAND_CMD(data_buf, req, status); }

/******** Response to Command json command ********/

typedef struct {
    uint8_t   fc;
    uint8_t   slave_id;
    uint16_t  addr;
    uint8_t   nb_regs;
    uint16_t* data;
} zb_zcl_modbus_data_packet_req_t;

#define MAX_NUM_REGISTERS ((zb_uint8_t)(ZB_ZCL_MB_CMD_MAX_STRING_LENGTH - 7) / 2)

typedef struct {
    uint8_t  fc;
    uint8_t  slave_id;
    uint16_t addr;
    int16_t  err;
    uint8_t  nb_regs;
    uint16_t data[MAX_NUM_REGISTERS];
} zb_zcl_modbus_data_packet_resp_t;

#define ZB_ZCL_MODBUS_JSON_COMMAND_RESP_MAX_PAYLOAD_LEN (ZB_ZCL_MB_CMD_MAX_STRING_LENGTH + 1)

#define ZB_ZCL_MODBUS_GET_JSON_COMMAND_RESP(buf, resp, parse_status)                                                                                                                                                                                     \
    {                                                                                                                                                                                                                                                    \
        zb_uint8_t len = ((uint8_t*)zb_buf_begin(buf))[0];                                                                                                                                                                                               \
        status         = ZB_ZCL_PARSE_STATUS_FAILURE;                                                                                                                                                                                                    \
        if ((zb_uint_t)(len + 1) == zb_buf_len(buf)) {                                                                                                                                                                                                   \
            resp.len = len;                                                                                                                                                                                                                              \
            ZB_MEMSET(resp.data, 0, sizeof(resp.data));                                                                                                                                                                                                  \
            ZB_MEMCPY(resp.data, (zb_uint8_t*)zb_buf_begin(buf) + 1, len);                                                                                                                                                                               \
            status = ZB_ZCL_PARSE_STATUS_SUCCESS;                                                                                                                                                                                                        \
        }                                                                                                                                                                                                                                                \
    }

/*! @brief Send Modbus cluster response to command 1
    @param buffer - to put packet to
    @param addr - address to send packet to
    @param dst_addr_mode - addressing mode
    @param dst_ep - destination endpoint
    @param ep - sending endpoint
    @param prfl_id - profile identifier
    @param def_resp - enable/disable default response
    @param cb - callback for getting command send status
    @param aps_secured - APS security mode
    @param response - response data
 */
#define ZB_ZCL_MODBUS_SEND_JSON_COMMAND_RESP(buffer, seq, dst_addr, dst_addr_mode, dst_ep, src_ep, prfl_id, cb, data, len)                                                                                                                               \
    {                                                                                                                                                                                                                                                    \
        zb_uint8_t* cmd_ptr = ZB_ZCL_START_PACKET(buffer);                                                                                                                                                                                               \
        if (cmd_ptr == NULL) {                                                                                                                                                                                                                           \
            LOG_ERR("Failed to start packet!");                                                                                                                                                                                                          \
        } else {                                                                                                                                                                                                                                         \
            ZB_ZCL_CONSTRUCT_SPECIFIC_COMMAND_RES_FRAME_CONTROL(cmd_ptr);                                                                                                                                                                                \
            ZB_ZCL_CONSTRUCT_COMMAND_HEADER(cmd_ptr, seq, ZB_ZCL_CMD_MODBUS_JSON_COMMAND_RESP_ID);                                                                                                                                                       \
            ZB_ZCL_PACKET_PUT_DATA8(cmd_ptr, len);                                                                                                                                                                                                       \
            ZB_ZCL_PACKET_PUT_DATA_N(cmd_ptr, data, len);                                                                                                                                                                                                \
            ZB_ZCL_FINISH_PACKET((buffer), cmd_ptr)                                                                                                                                                                                                      \
            ZB_ZCL_SEND_COMMAND_SHORT((buffer), (dst_addr), (dst_addr_mode), (dst_ep), (src_ep), prfl_id, ZB_ZCL_CLUSTER_ID_MODBUS, (cb));                                                                                                               \
        }                                                                                                                                                                                                                                                \
    }

/**
 *  @brief Modbus cluster attributes
 */
typedef struct zb_zcl_modbus_attrs_s {
    /** @copydoc ZB_ZCL_ATTR_MODBUS_BAUDRATE_ID
     * @see ZB_ZCL_ATTR_MODBUS_BAUDRATE_ID
     */
    zb_zcl_modbus_baudrate_t baudrate;
} zb_zcl_modbus_attrs_t;

/*! @} */ /* ZCL Modbus cluster definitions */

/** @endcond */

typedef struct {
    void*                            fifo_reserved;
    void*                            cb;
    zb_zcl_modbus_addr_t             addr;
    zb_zcl_modbus_data_packet_resp_t resp;
} modbus_cmd_resp_queue_data_t;

void zb_zcl_modbus_init_server(void);
void zb_zcl_modbus_init_client(void);
#define ZB_ZCL_CLUSTER_ID_MODBUS_SERVER_ROLE_INIT zb_zcl_modbus_init_server
#define ZB_ZCL_CLUSTER_ID_MODBUS_CLIENT_ROLE_INIT zb_zcl_modbus_init_client

#endif /* ZB_ZCL_MODBUS_H */
```
